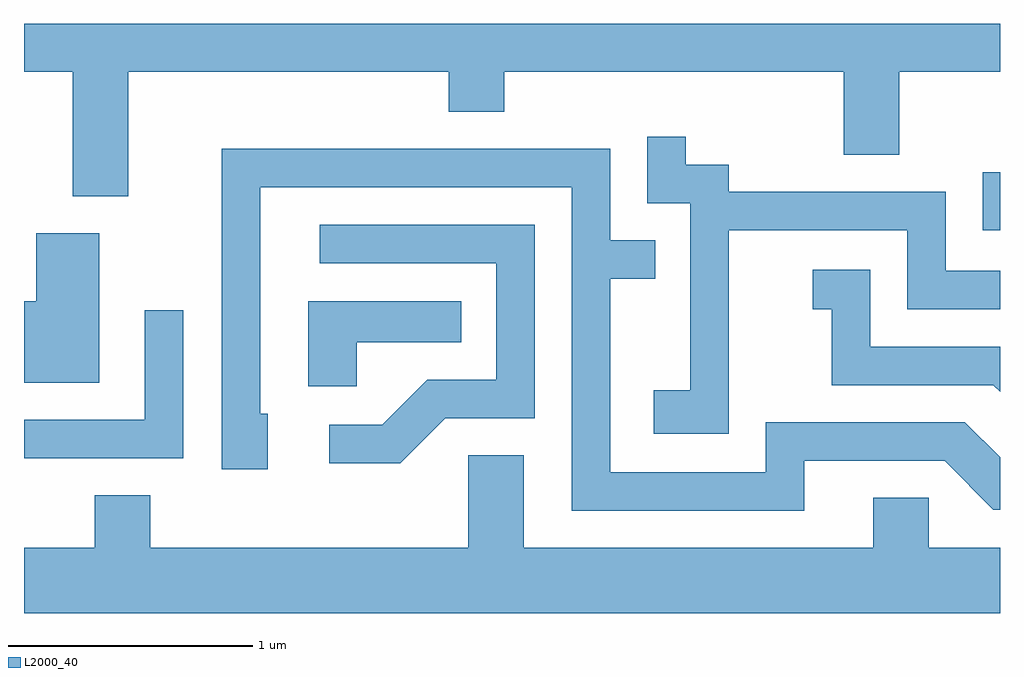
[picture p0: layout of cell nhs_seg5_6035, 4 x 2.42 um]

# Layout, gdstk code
import gdstk
lib = gdstk.Library(unit=1e-6, precision=1e-09)
def R(c, l, rs):  # rectangles x0, y0, x1, y1
    for r in rs: c.add(gdstk.rectangle(r[:2], r[2:], *l))
def P(c, l, *ps):  # polygons
    for p in ps: c.add(gdstk.Polygon(p, *l))
L2000_40 = (2000, 40)

nhs_seg5_6035 = lib.new_cell('nhs_seg5_6035')
R(nhs_seg5_6035, L2000_40, [(367.541,1487.226,367.611,1487.463)])
P(nhs_seg5_6035, L2000_40, [(364.039,1487.876),(365.351,1487.876),(365.351,1487.711),(365.579,1487.711),(365.579,1487.876),(366.971,1487.876),(366.971,1487.536),(367.199,1487.536),(367.199,1487.876),(367.611,1487.876),(367.611,1488.072),(363.611,1488.072),(363.611,1487.876),(363.811,1487.876),(363.811,1487.366),(364.039,1487.366)],
  [(366.499,1487.226),(367.231,1487.226),(367.231,1486.901),(367.611,1486.901),(367.611,1487.059),(367.389,1487.059),(367.389,1487.384),(366.499,1487.384),(366.499,1487.494),(366.324,1487.494),(366.324,1487.608),(366.166,1487.608),(366.166,1487.336),(366.341,1487.336),(366.341,1486.569),(366.191,1486.569),(366.191,1486.391),(366.499,1486.391)],
  [(366.809,1486.281),(367.384,1486.281),(367.584,1486.081),(367.611,1486.081),(367.611,1486.295),(367.467,1486.439),(366.651,1486.439),(366.651,1486.234),(366.014,1486.234),(366.014,1487.026),(366.198,1487.026),(366.198,1487.184),(366.014,1487.184),(366.014,1487.559),(364.421,1487.559),(364.421,1486.246),(364.609,1486.246),(364.609,1486.474),(364.579,1486.474),(364.579,1487.401),(365.856,1487.401),(365.856,1486.076),(366.809,1486.076)],
  [(365.337,1486.456),(365.704,1486.456),(365.704,1487.249),(364.823,1487.249),(364.823,1487.091),(365.546,1487.091),(365.546,1486.614),(365.264,1486.614),(365.079,1486.429),(364.863,1486.429),(364.863,1486.271),(365.152,1486.271)],
  [(363.919,1487.214),(363.661,1487.214),(363.661,1486.934),(363.611,1486.934),(363.611,1486.601),(363.919,1486.601)],
  [(367.611,1486.749),(367.079,1486.749),(367.079,1487.064),(366.843,1487.064),(366.843,1486.901),(366.921,1486.901),(366.921,1486.591),(367.584,1486.591),(367.611,1486.564)],
  [(364.974,1486.766),(365.403,1486.766),(365.403,1486.934),(364.776,1486.934),(364.776,1486.586),(364.974,1486.586)],
  [(364.264,1486.898),(364.106,1486.898),(364.106,1486.449),(363.611,1486.449),(363.611,1486.291),(364.264,1486.291)],
  [(367.611,1485.924),(367.319,1485.924),(367.319,1486.129),(367.091,1486.129),(367.091,1485.924),(365.659,1485.924),(365.659,1486.304),(365.431,1486.304),(365.431,1485.924),(364.129,1485.924),(364.129,1486.139),(363.901,1486.139),(363.901,1485.924),(363.611,1485.924),(363.611,1485.656),(367.611,1485.656)])

lib.write_gds('nhs_seg5_6035.gds')
